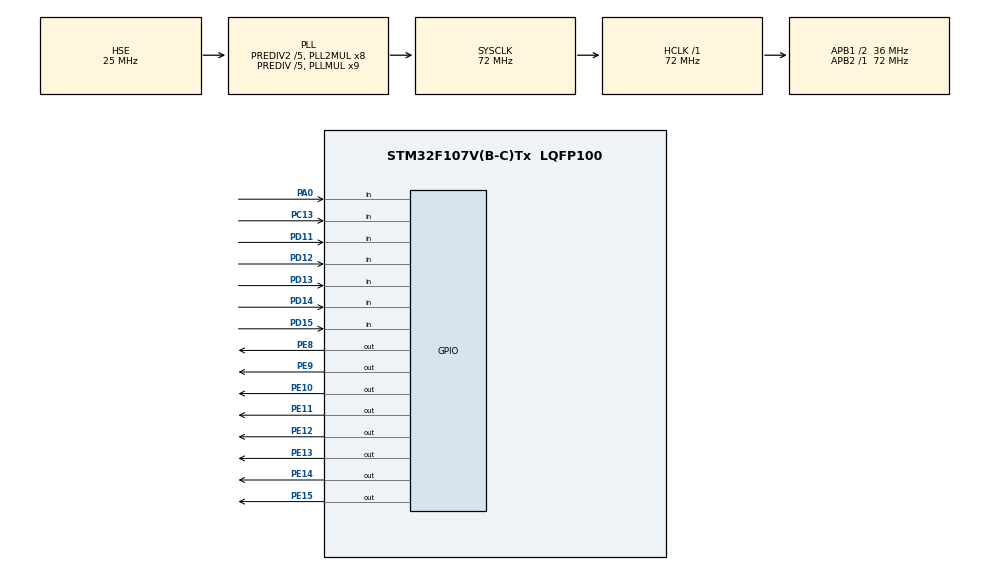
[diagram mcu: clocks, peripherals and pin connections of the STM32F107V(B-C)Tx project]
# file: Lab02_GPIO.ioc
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Mcu.Family=STM32F1
Mcu.Name=STM32F107V(B-C)Tx
Mcu.Package=LQFP100
NVIC.PriorityGroup=NVIC_PRIORITYGROUP_4
OSC_IN.Mode=HSE-External-Oscillator
OSC_IN.Signal=RCC_OSC_IN
OSC_OUT.Mode=HSE-External-Oscillator
OSC_OUT.Signal=RCC_OSC_OUT
PA0-WKUP.Signal=GPIO_Input
PC13-TAMPER-RTC.Signal=GPIO_Input
PD11.Signal=GPIO_Input
PD12.Signal=GPIO_Input
PD13.Signal=GPIO_Input
PD14.Signal=GPIO_Input
PD15.Signal=GPIO_Input
PE10.GPIO_Speed=GPIO_SPEED_FREQ_MEDIUM
PE10.Signal=GPIO_Output
PE11.GPIO_Speed=GPIO_SPEED_FREQ_MEDIUM
PE11.Signal=GPIO_Output
PE12.GPIO_Speed=GPIO_SPEED_FREQ_MEDIUM
PE12.Signal=GPIO_Output
PE13.GPIO_Speed=GPIO_SPEED_FREQ_MEDIUM
PE13.Signal=GPIO_Output
PE14.GPIO_Speed=GPIO_SPEED_FREQ_MEDIUM
PE14.Signal=GPIO_Output
PE15.GPIO_Speed=GPIO_SPEED_FREQ_MEDIUM
PE15.Signal=GPIO_Output
PE8.GPIO_Speed=GPIO_SPEED_FREQ_MEDIUM
PE8.Signal=GPIO_Output
PE9.GPIO_Speed=GPIO_SPEED_FREQ_MEDIUM
PE9.Signal=GPIO_Output
ProjectManager.HeapSize=0x200
ProjectManager.StackSize=0x400
ProjectManager.TargetToolchain=MDK-ARM V5
RCC.AHBFreq_Value=72000000
RCC.APB1CLKDivider=RCC_HCLK_DIV2
RCC.APB1Freq_Value=36000000
RCC.APB1TimFreq_Value=72000000
RCC.APB2Freq_Value=72000000
RCC.APB2TimFreq_Value=72000000
RCC.HCLKFreq_Value=72000000
RCC.HSEDivPLL=RCC_HSE_PREDIV_DIV5
RCC.HSE_VALUE=25000000
RCC.PLLMUL=RCC_PLL_MUL9
RCC.PLLSourceVirtual=RCC_PLLSOURCE_HSE
RCC.Prediv1Source=RCC_PREDIV1_SOURCE_PLL2
RCC.Prediv2=RCC_HSE_PREDIV2_DIV5
RCC.SYSCLKFreq_VALUE=72000000
RCC.SYSCLKSource=RCC_SYSCLKSOURCE_PLLCLK
RCC.USBFreq_Value=48000000
VP_SYS_VS_ND.Mode=No_Debug
board=Lab02_GPIO

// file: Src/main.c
/**
  ******************************************************************************
  * File Name		  : main.c
  * Description		: Main program body
  ******************************************************************************
  ** This notice applies to any and all portions of this file
  * that are not between comment pairs USER CODE BEGIN and
  * USER CODE END. Other portions of this file, whether
  * inserted by the user or by software development tools
  * are owned by their respective copyright owners.
  *
  * COPYRIGHT(c) 2018 STMicroelectronics
  *
  * Redistribution and use in source and binary forms, with or without modification,
  * are permitted provided that the following conditions are met:
  *   1. Redistributions of source code must retain the above copyright notice,
  *	  this list of conditions and the following disclaimer.
  *   2. Redistributions in binary form must reproduce the above copyright notice,
  *	  this list of conditions and the following disclaimer in the documentation
  *	  and/or other materials provided with the distribution.
  *   3. Neither the name of STMicroelectronics nor the names of its contributors
  *	  may be used to endorse or promote products derived from this software
  *	  without specific prior written permission.
  *
  * THIS SOFTWARE IS PROVIDED BY THE COPYRIGHT HOLDERS AND CONTRIBUTORS "AS IS"
  * AND ANY EXPRESS OR IMPLIED WARRANTIES, INCLUDING, BUT NOT LIMITED TO, THE
  * IMPLIED WARRANTIES OF MERCHANTABILITY AND FITNESS FOR A PARTICULAR PURPOSE ARE
  * DISCLAIMED. IN NO EVENT SHALL THE COPYRIGHT HOLDER OR CONTRIBUTORS BE LIABLE
  * FOR ANY DIRECT, INDIRECT, INCIDENTAL, SPECIAL, EXEMPLARY, OR CONSEQUENTIAL
  * DAMAGES (INCLUDING, BUT NOT LIMITED TO, PROCUREMENT OF SUBSTITUTE GOODS OR
  * SERVICES; LOSS OF USE, DATA, OR PROFITS; OR BUSINESS INTERRUPTION) HOWEVER
  * CAUSED AND ON ANY THEORY OF LIABILITY, WHETHER IN CONTRACT, STRICT LIABILITY,
  * OR TORT (INCLUDING NEGLIGENCE OR OTHERWISE) ARISING IN ANY WAY OUT OF THE USE
  * OF THIS SOFTWARE, EVEN IF ADVISED OF THE POSSIBILITY OF SUCH DAMAGE.
  *
  ******************************************************************************
  */

#include "main.h"
#include "stm32f1xx_hal.h"

/* USER CODE BEGIN Includes */
#define LAB2_4

/* USER CODE END Includes */

/* USER CODE BEGIN PV */
/* Private variables ---------------------------------------------------------*/
#ifdef LAB2_4
unsigned int count = 0;
#endif

/* USER CODE END PV */

void SystemClock_Config(void);
static void MX_GPIO_Init(void);

/* USER CODE BEGIN PFP */
/* Private function prototypes -----------------------------------------------*/

/* USER CODE END PFP */

int main(void)
{

  /* MCU Configuration----------------------------------------------------------*/

  /* Reset of all peripherals, Initializes the Flash interface and the Systick. */
  HAL_Init();

  /* Configure the system clock */
  SystemClock_Config();

  /* Initialize all configured peripherals */
  MX_GPIO_Init();

  /* Infinite loop */
  while (1)
  {

  /* USER CODE BEGIN 3 */
#ifdef LAB2_1
	if ( (GPIOA->IDR&0x0001) == 0x0001 ) {
		GPIOE->ODR = 0x8100;
		HAL_Delay(1000);
		GPIOE->ODR = 0x0000;
		HAL_Delay(1000);
	}
#endif

#ifdef LAB2_2
	if ( (GPIOA->IDR&0x0001) == 0x0001
		|| (GPIOC->IDR&0x2000) == 0x0000) {

		GPIOE->ODR = 0x8100;
		HAL_Delay(1000);
		GPIOE->ODR = 0x0000;
		HAL_Delay(1000);
	}
#endif

#ifdef LAB2_4
	HAL_Delay(100);
	if ((GPIOD->IDR&0x0800) == 0x0000) {
		--count;
		count %= 8;
		GPIOE->ODR = 0x0100<<count;
		HAL_Delay(200);
	}

	if ((GPIOD->IDR&0x2000) == 0x0000) {
		++count;
		count %= 8;
		GPIOE->ODR = 0x0100<<count;
		HAL_Delay(200);
	}

	if ((GPIOD->IDR&0x1000) == 0x0000) {
		GPIOE->ODR = 0x00008100;
		HAL_Delay(1000);
		GPIOE->ODR = 0x00004200;
		HAL_Delay(1000);
		GPIOE->ODR = 0x00002400;
		HAL_Delay(1000);
		GPIOE->ODR = 0x00001800;
		HAL_Delay(1000);

		GPIOE->ODR = 0x00000000;
		count = 0;
	}

	if ((GPIOD->IDR&0x4000) == 0x0000) {
		GPIOE->ODR = 0x00001800;
		HAL_Delay(1000);
		GPIOE->ODR = 0x00002400;
		HAL_Delay(1000);
		GPIOE->ODR = 0x00004200;
		HAL_Delay(1000);
		GPIOE->ODR = 0x00008100;
		HAL_Delay(1000);

		GPIOE->ODR = 0x00000000;
		count = 0;
	}

	if ((GPIOD->IDR&0x8000) == 0x0000) {
		GPIOE->ODR = 0x0000AA00;
		HAL_Delay(500);
		GPIOE->ODR = 0x00005500;
		HAL_Delay(500);

		GPIOE->ODR = 0x00000000;
		count = 0;
	}
#endif
  }

  /* USER CODE END 3 */

}

/** System Clock Configuration
*/
void SystemClock_Config(void)
{

  RCC_OscInitTypeDef RCC_OscInitStruct;
  RCC_ClkInitTypeDef RCC_ClkInitStruct;

	/**Initializes the CPU, AHB and APB busses clocks
	*/
  RCC_OscInitStruct.OscillatorType = RCC_OSCILLATORTYPE_HSE;
  RCC_OscInitStruct.HSEState = RCC_HSE_ON;
  RCC_OscInitStruct.HSEPredivValue = RCC_HSE_PREDIV_DIV5;
  RCC_OscInitStruct.HSIState = RCC_HSI_ON;
  RCC_OscInitStruct.Prediv1Source = RCC_PREDIV1_SOURCE_PLL2;
  RCC_OscInitStruct.PLL.PLLState = RCC_PLL_ON;
  RCC_OscInitStruct.PLL.PLLSource = RCC_PLLSOURCE_HSE;
  RCC_OscInitStruct.PLL.PLLMUL = RCC_PLL_MUL9;
  RCC_OscInitStruct.PLL2.PLL2State = RCC_PLL2_ON;
  RCC_OscInitStruct.PLL2.PLL2MUL = RCC_PLL2_MUL8;
  RCC_OscInitStruct.PLL2.HSEPrediv2Value = RCC_HSE_PREDIV2_DIV5;
  if (HAL_RCC_OscConfig(&RCC_OscInitStruct) != HAL_OK)
  {
	_Error_Handler(__FILE__, __LINE__);
  }

	/**Initializes the CPU, AHB and APB busses clocks
	*/
  RCC_ClkInitStruct.ClockType = RCC_CLOCKTYPE_HCLK|RCC_CLOCKTYPE_SYSCLK
							  |RCC_CLOCKTYPE_PCLK1|RCC_CLOCKTYPE_PCLK2;
  RCC_ClkInitStruct.SYSCLKSource = RCC_SYSCLKSOURCE_PLLCLK;
  RCC_ClkInitStruct.AHBCLKDivider = RCC_SYSCLK_DIV1;
  RCC_ClkInitStruct.APB1CLKDivider = RCC_HCLK_DIV2;
  RCC_ClkInitStruct.APB2CLKDivider = RCC_HCLK_DIV1;

  if (HAL_RCC_ClockConfig(&RCC_ClkInitStruct, FLASH_LATENCY_2) != HAL_OK)
  {
	_Error_Handler(__FILE__, __LINE__);
  }

	/**Configure the Systick interrupt time
	*/
  HAL_SYSTICK_Config(HAL_RCC_GetHCLKFreq()/1000);

	/**Configure the Systick
	*/
  HAL_SYSTICK_CLKSourceConfig(SYSTICK_CLKSOURCE_HCLK);

	/**Configure the Systick interrupt time
	*/
  __HAL_RCC_PLLI2S_ENABLE();

  /* SysTick_IRQn interrupt configuration */
  HAL_NVIC_SetPriority(SysTick_IRQn, 0, 0);
}

/** Configure pins as
		* Analog
		* Input
		* Output
		* EVENT_OUT
		* EXTI
*/
static void MX_GPIO_Init(void)
{

  GPIO_InitTypeDef GPIO_InitStruct;

  /* GPIO Ports Clock Enable */
  __HAL_RCC_GPIOC_CLK_ENABLE();
  __HAL_RCC_GPIOA_CLK_ENABLE();
  __HAL_RCC_GPIOE_CLK_ENABLE();
  __HAL_RCC_GPIOD_CLK_ENABLE();

  /*Configure GPIO pin Output Level */
  HAL_GPIO_WritePin(GPIOE, GPIO_PIN_8|GPIO_PIN_9|GPIO_PIN_10|GPIO_PIN_11
						  |GPIO_PIN_12|GPIO_PIN_13|GPIO_PIN_14|GPIO_PIN_15, GPIO_PIN_RESET);

  /*Configure GPIO pin : PC13 */
  GPIO_InitStruct.Pin = GPIO_PIN_13;
  GPIO_InitStruct.Mode = GPIO_MODE_INPUT;
  GPIO_InitStruct.Pull = GPIO_NOPULL;
  HAL_GPIO_Init(GPIOC, &GPIO_InitStruct);

  /*Configure GPIO pin : PA0 */
  GPIO_InitStruct.Pin = GPIO_PIN_0;
  GPIO_InitStruct.Mode = GPIO_MODE_INPUT;
  GPIO_InitStruct.Pull = GPIO_NOPULL;
  HAL_GPIO_Init(GPIOA, &GPIO_InitStruct);

  /*Configure GPIO pins : PE8 PE9 PE10 PE11
						   PE12 PE13 PE14 PE15 */
  GPIO_InitStruct.Pin = GPIO_PIN_8|GPIO_PIN_9|GPIO_PIN_10|GPIO_PIN_11
						  |GPIO_PIN_12|GPIO_PIN_13|GPIO_PIN_14|GPIO_PIN_15;
  GPIO_InitStruct.Mode = GPIO_MODE_OUTPUT_PP;
  GPIO_InitStruct.Speed = GPIO_SPEED_FREQ_MEDIUM;
  HAL_GPIO_Init(GPIOE, &GPIO_InitStruct);

  /*Configure GPIO pins : PD11 PD12 PD13 PD14
						   PD15 */
  GPIO_InitStruct.Pin = GPIO_PIN_11|GPIO_PIN_12|GPIO_PIN_13|GPIO_PIN_14
						  |GPIO_PIN_15;
  GPIO_InitStruct.Mode = GPIO_MODE_INPUT;
  GPIO_InitStruct.Pull = GPIO_NOPULL;
  HAL_GPIO_Init(GPIOD, &GPIO_InitStruct);

}

void _Error_Handler(char * file, int line)
{
  while(1)
  {
  }
}

/************************ (C) COPYRIGHT STMicroelectronics *****END OF FILE****/
